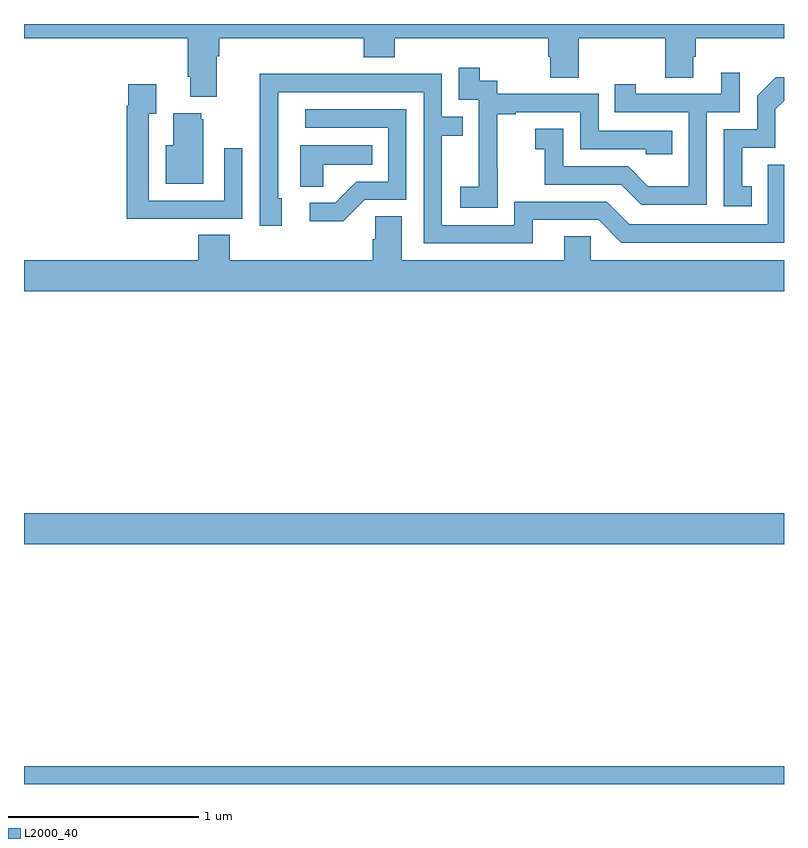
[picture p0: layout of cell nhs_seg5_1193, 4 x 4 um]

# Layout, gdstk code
import gdstk
lib = gdstk.Library(unit=1e-6, precision=1e-09)
def R(c, l, rs):  # rectangles x0, y0, x1, y1
    for r in rs: c.add(gdstk.rectangle(r[:2], r[2:], *l))
def P(c, l, *ps):  # polygons
    for p in ps: c.add(gdstk.Polygon(p, *l))
L2000_40 = (2000, 40)

nhs_seg5_1193 = lib.new_cell('nhs_seg5_1193')
R(nhs_seg5_1193, L2000_40, [(183,888.799,187,888.892), (183,890.06,187,890.224)])
P(nhs_seg5_1193, L2000_40, [(184.015,892.628),(184.028,892.628),(184.028,892.724),(184.787,892.724),(184.787,892.625),(184.952,892.625),(184.952,892.724),(185.759,892.724),(185.759,892.626),(185.771,892.626),(185.771,892.516),(185.919,892.516),(185.919,892.724),(186.376,892.724),(186.376,892.516),(186.523,892.516),(186.523,892.626),(186.536,892.626),(186.536,892.724),(187,892.724),(187,892.799),(183,892.799),(183,892.724),(183.863,892.724),(183.863,892.522),(183.875,892.522),(183.875,892.415),(184.015,892.415)],
  [(185.493,892.039),(185.492,892.039),(185.492,892.323),(185.587,892.323),(185.587,892.335),(185.928,892.335),(185.928,892.14),(186.273,892.14),(186.273,892.113),(186.413,892.113),(186.413,892.236),(186.024,892.236),(186.024,892.431),(185.49,892.431),(185.49,892.5),(185.398,892.5),(185.398,892.57),(185.289,892.57),(185.289,892.401),(185.394,892.401),(185.394,892.172),(185.393,892.172),(185.393,891.943),(185.295,891.943),(185.295,891.833),(185.493,891.833)],
  [(186.594,892.335),(186.768,892.335),(186.768,892.543),(186.671,892.543),(186.671,892.431),(186.22,892.431),(186.22,892.483),(186.109,892.483),(186.109,892.335),(186.498,892.335),(186.498,891.946),(186.284,891.946),(186.18,892.05),(185.838,892.05),(185.838,892.249),(185.691,892.249),(185.691,892.139),(185.74,892.139),(185.74,891.954),(186.143,891.954),(186.248,891.849),(186.594,891.849)],
  [(185.677,891.768),(186.024,891.768),(186.144,891.648),(187,891.648),(187,892.059),(186.915,892.059),(186.915,891.744),(186.186,891.744),(186.066,891.864),(185.58,891.864),(185.58,891.741),(185.199,891.741),(185.199,892.21),(185.309,892.21),(185.309,892.311),(185.199,892.311),(185.199,892.536),(184.703,892.536),(184.703,892.538),(184.24,892.538),(184.24,892.231),(184.242,892.231),(184.242,891.738),(184.357,891.738),(184.357,891.882),(184.338,891.882),(184.338,892.44),(185.103,892.44),(185.103,891.645),(185.677,891.645)],
  [(186.83,891.945),(186.781,891.945),(186.781,892.149),(186.954,892.149),(186.954,892.35),(187,892.396),(187,892.52),(186.956,892.52),(186.858,892.422),(186.858,892.245),(186.684,892.245),(186.684,891.84),(186.83,891.84)],
  [(183.833,891.774),(184.149,891.774),(184.149,892.144),(184.053,892.144),(184.053,891.87),(183.657,891.87),(183.657,892.327),(183.697,892.327),(183.697,892.483),(183.549,892.483),(183.549,892.37),(183.541,892.37),(183.541,891.773),(183.833,891.773)],
  [(184.794,891.873),(185.013,891.873),(185.013,892.35),(184.479,892.35),(184.479,892.254),(184.917,892.254),(184.917,891.969),(184.748,891.969),(184.637,891.858),(184.503,891.858),(184.503,891.761),(184.681,891.761)],
  [(183.943,892.299),(183.932,892.299),(183.932,892.33),(183.785,892.33),(183.785,892.162),(183.746,892.162),(183.746,891.959),(183.943,891.959)],
  [(184.575,892.058),(184.832,892.058),(184.832,892.162),(184.454,892.162),(184.454,891.943),(184.575,891.943)],
  [(187,891.556),(185.982,891.556),(185.982,891.683),(185.843,891.683),(185.843,891.556),(184.987,891.556),(184.987,891.788),(184.848,891.788),(184.848,891.665),(184.835,891.665),(184.835,891.556),(184.082,891.556),(184.082,891.689),(183.917,891.689),(183.917,891.556),(183,891.556),(183,891.392),(187,891.392)])

lib.write_gds('nhs_seg5_1193.gds')
